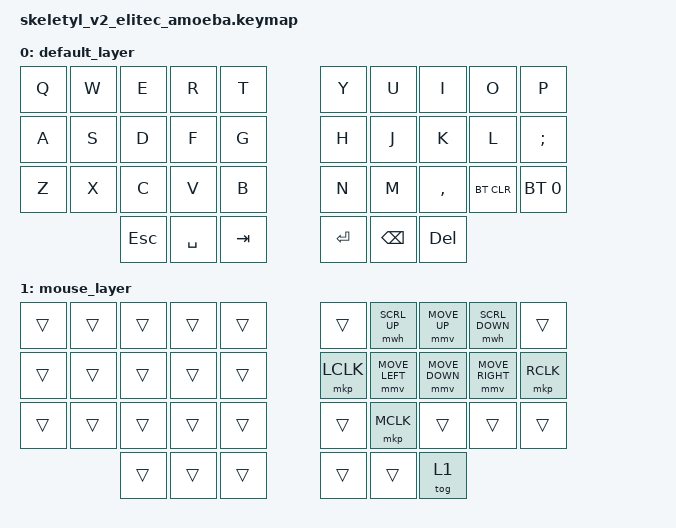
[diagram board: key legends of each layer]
/*
 * Copyright (c) 2020 ZMK Contributors
 *
 * SPDX-License-Identifier: MIT
 */


#include <behaviors.dtsi>
#include <dt-bindings/zmk/keys.h>
#include <dt-bindings/zmk/bt.h>
#include <dt-bindings/zmk/mouse.h>

/ {
	combos {
		compatible = "zmk,combos";
		combo_mouse_layer {
			timeout-ms = <50>;
			key-positions = <8 9>;
			bindings = <&tog 1>;
		};
	};

	keymap {
		compatible = "zmk,keymap";

		default_layer {
// ------------------------------------------------------------------------------------------------------------
// |  Q  |  W  |  E   |  R   |  T   |                   |  Y   |  U    |  I    |  O   |   P   |
// |  A  |  S  |  D   |  F   |  G   |                   |  H   |  J    |  K    |  L   |   ;   |
// |  Z  |  X  |  C   |  V   |  B   |                   |  N   |  M    |  ,    |  .   |   /   |
//                    | CTRL | SPCE | LOWER|            | RAISE| ENTR  | RGUI|
			bindings = <
&kp Q     &kp W    &kp E     &kp R     &kp T                     &kp Y     &kp U    &kp I     &kp O     &kp P    
&kp A     &kp S    &kp D     &kp F     &kp G                     &kp H     &kp J    &kp K     &kp L     &kp SEMI 
&kp Z     &kp X    &kp C     &kp V     &kp B                     &kp N     &kp M    &kp COMMA &bt BT_CLR &bt BT_SEL 0 
                   &kp ESC   &kp SPACE &kp TAB                   &kp ENTER &kp BKSP &kp DEL
			>;
		};

		mouse_layer {
// ------------------------------------------------------------------------------------------------------------
// |     |     |      |      |      |                   |      | SCRUP |  UP  |SCRDN |       |
// |     |     |      |      |      |                   |LCLICK|  LEFT | DOWN | RIGHT|RCLICK |
// |     |     |      |      |      |                   |      |       |      |      |       |
//                    |      |      |      |            |      |       |TOGOFF|
			bindings = <
&trans &trans &trans &trans &trans                     &trans    &mwh SCRL_UP   &mmv MOVE_UP   &mwh SCRL_DOWN  &trans   
&trans &trans &trans &trans &trans                     &mkp LCLK &mmv MOVE_LEFT &mmv MOVE_DOWN &mmv MOVE_RIGHT &mkp RCLK
&trans &trans &trans &trans &trans                     &trans    &mkp MCLK      &trans         &trans          &trans   
                   &trans &trans &trans                &trans    &trans         &tog 1
			>;
		};
	};
};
